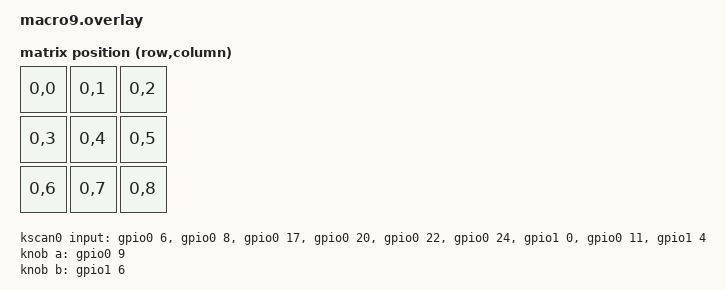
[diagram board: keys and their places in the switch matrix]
#include <dt-bindings/zmk/matrix_transform.h>
#include <zephyr/dt-bindings/gpio/gpio.h>

/ {
    chosen {
        zmk,kscan = &kscan0;
        zmk,physical-layout = &physical_layout0;
    };

    kscan0: kscan {
        compatible = "zmk,kscan-gpio-direct";
        wakeup-source;

        input-gpios
            = <&gpio0 6  (GPIO_ACTIVE_LOW | GPIO_PULL_UP)>  /* 1번 */
            , <&gpio0 8  (GPIO_ACTIVE_LOW | GPIO_PULL_UP)>  /* 2번 */
            , <&gpio0 17 (GPIO_ACTIVE_LOW | GPIO_PULL_UP)>  /* 3번 */
            , <&gpio0 20 (GPIO_ACTIVE_LOW | GPIO_PULL_UP)>  /* 4번 */
            , <&gpio0 22 (GPIO_ACTIVE_LOW | GPIO_PULL_UP)>  /* 5번 */
            , <&gpio0 24 (GPIO_ACTIVE_LOW | GPIO_PULL_UP)>  /* 6번 */
            , <&gpio1 0  (GPIO_ACTIVE_LOW | GPIO_PULL_UP)>  /* 7번 */
            , <&gpio0 11 (GPIO_ACTIVE_LOW | GPIO_PULL_UP)>  /* 8번 */
            , <&gpio1 4  (GPIO_ACTIVE_LOW | GPIO_PULL_UP)>  /* 9번 */
            ;
    };

    default_transform: keymap_transform_0 {
        compatible = "zmk,matrix-transform";
        columns = <9>;
        rows = <1>;

        map = <
            RC(0,0) RC(0,1) RC(0,2)
            RC(0,3) RC(0,4) RC(0,5)
            RC(0,6) RC(0,7) RC(0,8)
        >;
    };

    physical_layout0: physical_layout_0 {
        compatible = "zmk,physical-layout";
        display-name = "Default Layout";
        kscan = <&kscan0>;
        transform = <&default_transform>;
    };

    knob: encoder {
        compatible = "alps,ec11";
        a-gpios = <&gpio0 9 (GPIO_ACTIVE_LOW | GPIO_PULL_UP)>;  /* DT */
        b-gpios = <&gpio1 6 (GPIO_ACTIVE_LOW | GPIO_PULL_UP)>;  /* CLK */
        steps = <80>;
        status = "okay";
    };

    sensors: sensors {
        compatible = "zmk,keymap-sensors";
        sensors = <&knob>;
        triggers-per-rotation = <20>;
    };
};
